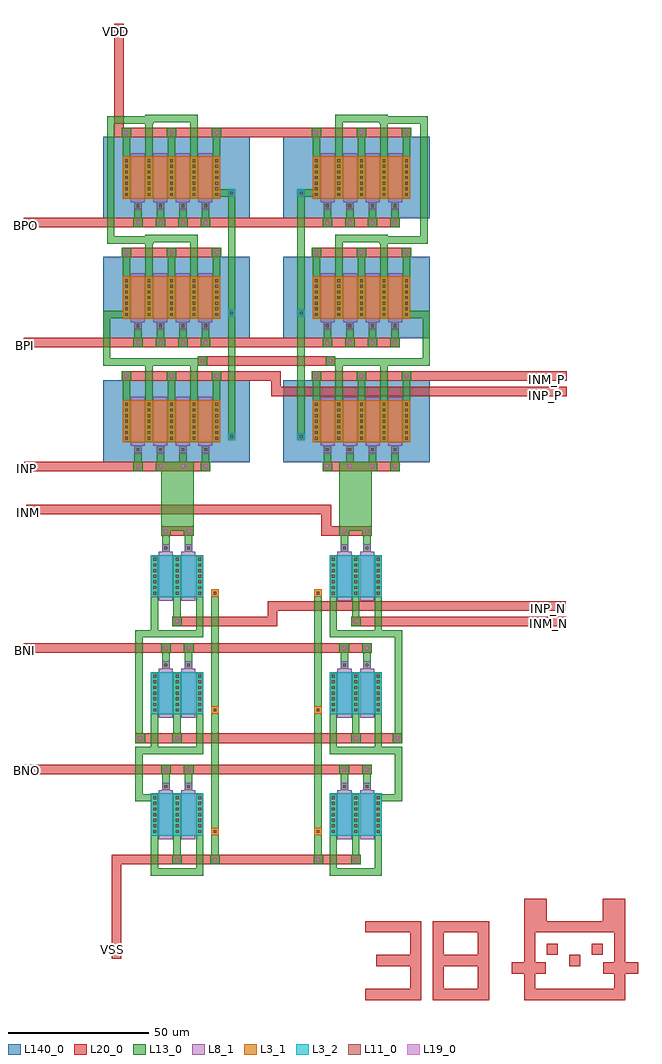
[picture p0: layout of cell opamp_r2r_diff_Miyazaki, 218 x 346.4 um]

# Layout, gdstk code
from math import pi, radians
import gdstk
lib = gdstk.Library(unit=1e-6, precision=1e-07)
def R(c, l, rs):  # rectangles x0, y0, x1, y1
    for r in rs: c.add(gdstk.rectangle(r[:2], r[2:], *l))
def A(c, l, x, y, w, h, nx, ny, dx, dy):  # array of equal rectangles
    R(c, l, [(x+i*dx, y+j*dy, x+i*dx+w, y+j*dy+h) for i in range(nx) for j in range(ny)])
L3_1 = (3, 1)
L3_2 = (3, 2)
L8_1 = (8, 1)
L11_0 = (11, 0)
L13_0 = (13, 0)
L19_0 = (19, 0)
L20_0 = (20, 0)
L140_0 = (140, 0)

via_1 = lib.new_cell('via_1')
R(via_1, L13_0, [(-1.7,-1.7,1.7,1.7)])
R(via_1, L19_0, [(-0.7,-0.7,0.7,0.7)])
R(via_1, L20_0, [(-1.7,-1.7,1.7,1.7)])

cont_g = lib.new_cell('cont_g')
R(cont_g, L8_1, [(-1.3,-1.3,1.3,1.3)])
R(cont_g, L11_0, [(-0.5,-0.5,0.5,0.5)])
R(cont_g, L13_0, [(-1.3,-1.3,1.3,1.3)])

cont_n = lib.new_cell('cont_n')
R(cont_n, L3_2, [(-1.3,-1.3,1.3,1.3)])
R(cont_n, L11_0, [(-0.5,-0.5,0.5,0.5)])
R(cont_n, L13_0, [(-1.3,-1.3,1.3,1.3)])

fet_p = lib.new_cell('fet_p')
R(fet_p, L3_1, [(-17.3,-7.5,17.3,7.5)])
A(fet_p, L11_0, -16.5, -6.5, 1, 1, 5, 7, 8, 2)
A(fet_p, L13_0, -17.3, -7.3, 2.6, 14.6, 5, 1, 8, 0)
fet_p.add(gdstk.FlexPath([(4,-8.7),(4,8.7)], 5, ends="flush", simple_path=True, layer=8, datatype=1))  # L8_1
fet_p.add(gdstk.FlexPath([(-4,-8.7),(-4,8.7)], 5, ends="flush", simple_path=True, layer=8, datatype=1))  # L8_1
fet_p.add(gdstk.FlexPath([(12,-8.7),(12,8.7)], 5, ends="flush", simple_path=True, layer=8, datatype=1))  # L8_1
fet_p.add(gdstk.FlexPath([(-12,-8.7),(-12,8.7)], 5, ends="flush", simple_path=True, layer=8, datatype=1))  # L8_1

pfet_base = lib.new_cell('PFET_BASE')
R(pfet_base, L140_0, [(0,3.2,52,32.2)])
pfet_base.add(gdstk.FlexPath([(15,38.7),(33.6,38.7)], 2.6, ends="flush", simple_path=True, layer=13, datatype=0))  # L13_0
pfet_base.add(gdstk.FlexPath([(36.4,6.4),(36.4,3.4)], 2.6, ends="flush", simple_path=True, layer=13, datatype=0))  # L13_0
pfet_base.add(gdstk.FlexPath([(28.4,6.4),(28.4,3.4)], 2.6, ends="flush", simple_path=True, layer=13, datatype=0))  # L13_0
pfet_base.add(gdstk.FlexPath([(20.4,6.4),(20.4,3.4)], 2.6, ends="flush", simple_path=True, layer=13, datatype=0))  # L13_0
pfet_base.add(gdstk.FlexPath([(12.4,6.4),(12.4,3.4)], 2.6, ends="flush", simple_path=True, layer=13, datatype=0))  # L13_0
pfet_base.add(gdstk.FlexPath([(32.3,25),(32.3,39)], 2.6, ends="flush", simple_path=True, layer=13, datatype=0))  # L13_0
pfet_base.add(gdstk.FlexPath([(40.3,25),(40.3,32)], 2.6, ends="flush", simple_path=True, layer=13, datatype=0))  # L13_0
pfet_base.add(gdstk.FlexPath([(16.3,25),(16.3,39)], 2.6, ends="flush", simple_path=True, layer=13, datatype=0))  # L13_0
pfet_base.add(gdstk.FlexPath([(24.3,25),(24.3,32)], 2.6, ends="flush", simple_path=True, layer=13, datatype=0))  # L13_0
pfet_base.add(gdstk.FlexPath([(8.3,25),(8.3,32)], 2.6, ends="flush", simple_path=True, layer=13, datatype=0))  # L13_0
pfet_base.add(gdstk.FlexPath([(6.6,33.7),(42,33.7)], 3.4, ends="flush", simple_path=True, layer=20, datatype=0))  # L20_0
pfet_base.add(gdstk.FlexPath([(38.1,1.7),(10.7,1.7)], 3.4, ends="flush", simple_path=True, layer=20, datatype=0))  # L20_0
pfet_base.add(gdstk.Reference(via_1, (28.4,1.7)))
pfet_base.add(gdstk.Reference(via_1, (24.3,33.7)))
pfet_base.add(gdstk.Reference(via_1, (8.3,33.7)))
pfet_base.add(gdstk.Reference(via_1, (40.3,33.7)))
pfet_base.add(gdstk.Reference(via_1, (20.4,1.7)))
pfet_base.add(gdstk.Reference(via_1, (12.4,1.7)))
pfet_base.add(gdstk.Reference(cont_g, (28.4,7.7)))
pfet_base.add(gdstk.Reference(cont_g, (20.4,7.7)))
pfet_base.add(gdstk.Reference(cont_g, (12.4,7.7)))
pfet_base.add(gdstk.Reference(via_1, (36.4,1.7)))
pfet_base.add(gdstk.Reference(cont_n, (45.7,12.2)))
pfet_base.add(gdstk.Reference(fet_p, (24.3,17.7)))
pfet_base.add(gdstk.Reference(cont_g, (36.4,7.7)))

fet_n = lib.new_cell('fet_n')
R(fet_n, L3_2, [(-9.3,-7.5,9.3,7.5)])
A(fet_n, L11_0, -8.5, -6.5, 1, 1, 3, 7, 8, 2)
A(fet_n, L13_0, -9.3, -7.3, 2.6, 14.6, 3, 1, 8, 0)
fet_n.add(gdstk.FlexPath([(4,-8.7),(4,8.7)], 5, ends="flush", simple_path=True, layer=8, datatype=1))  # L8_1
fet_n.add(gdstk.FlexPath([(-4,-8.7),(-4,8.7)], 5, ends="flush", simple_path=True, layer=8, datatype=1))  # L8_1

cont_p = lib.new_cell('cont_p')
R(cont_p, L3_1, [(-1.3,-1.3,1.3,1.3)])
R(cont_p, L11_0, [(-0.5,-0.5,0.5,0.5)])
R(cont_p, L13_0, [(-1.3,-1.3,1.3,1.3)])

nfet_base = lib.new_cell('NFET_BASE')
nfet_base.add(gdstk.FlexPath([(5.3,35.6),(5.3,32.6)], 2.6, ends="flush", simple_path=True, layer=13, datatype=0))  # L13_0
nfet_base.add(gdstk.FlexPath([(13.3,35.6),(13.3,32.6)], 2.6, ends="flush", simple_path=True, layer=13, datatype=0))  # L13_0
nfet_base.add(gdstk.FlexPath([(1.3,0),(1.3,14)], 2.6, ends="flush", simple_path=True, layer=13, datatype=0))  # L13_0
nfet_base.add(gdstk.FlexPath([(9.3,7),(9.3,14)], 2.6, ends="flush", simple_path=True, layer=13, datatype=0))  # L13_0
nfet_base.add(gdstk.FlexPath([(17.3,0),(17.3,14)], 2.6, ends="flush", simple_path=True, layer=13, datatype=0))  # L13_0
nfet_base.add(gdstk.FlexPath([(0,0.9),(18.6,0.9)], 2.6, ends="flush", simple_path=True, layer=13, datatype=0))  # L13_0
nfet_base.add(gdstk.FlexPath([(3.6,37.3),(15.1,37.3)], 3.4, ends="flush", simple_path=True, layer=20, datatype=0))  # L20_0
nfet_base.add(gdstk.Reference(fet_n, (9.3,21.3)))
nfet_base.add(gdstk.Reference(cont_p, (22.7,15.3)))
nfet_base.add(gdstk.Reference(cont_g, (5.3,31.3)))
nfet_base.add(gdstk.Reference(cont_g, (13.3,31.3)))
nfet_base.add(gdstk.Reference(via_1, (5.3,37.3)))
nfet_base.add(gdstk.Reference(via_1, (13.4,37.3)))
nfet_base.add(gdstk.Reference(via_1, (9.3,5.3)))

opamp_r2r_diff_miyazaki = lib.new_cell('opamp_r2r_diff_Miyazaki')
R(opamp_r2r_diff_miyazaki, L13_0, [(-5.7,-23.8,5.8,0.7), (57.6,-23.8,69.1,0.7)])
A(opamp_r2r_diff_miyazaki, L20_0, 90.7, -190.4, 20, 4, 1, 3, 0, 12)
A(opamp_r2r_diff_miyazaki, L20_0, 123.1, -178.4, 4, 4, 3, 1, 16, 0)
R(opamp_r2r_diff_miyazaki, L20_0, [(66.7,-190.4,86.7,-186.4), (123.1,-190.4,159.1,-186.4), (82.7,-186.4,86.7,-182.4), (90.7,-186.4,94.7,-182.4), (106.7,-186.4,110.7,-182.4), (123.1,-186.4,127.1,-182.4), (155.1,-186.4,159.1,-182.4), (82.7,-182.4,86.7,-178.4), (90.7,-182.4,94.7,-178.4), (106.7,-182.4,110.7,-178.4), (123.1,-182.4,127.1,-178.4), (155.1,-182.4,159.1,-178.4), (118.7,-181.1,130.9,-177), (151.3,-181.1,163.6,-177), (70.7,-178.4,86.7,-174.4), (82.7,-174.4,86.7,-170.4), (90.7,-174.4,94.7,-170.4), (106.7,-174.4,110.7,-170.4), (123.1,-174.4,127.1,-170.4), (131.1,-174.4,135.1,-170.4), (147.1,-174.4,151.1,-170.4), (155.1,-174.4,159.1,-170.4), (82.7,-170.4,86.7,-166.4), (90.7,-170.4,94.7,-166.4), (106.7,-170.4,110.7,-166.4), (123.1,-170.4,127.1,-166.4), (155.1,-170.4,159.1,-166.4), (66.7,-166.4,86.7,-162.4), (123.1,-166.4,159.1,-162.4), (123.1,-162.4,131.1,-158.4), (151.1,-162.4,159.1,-158.4), (123.1,-158.4,131.1,-154.4), (151.1,-158.4,159.1,-154.4)])
opamp_r2r_diff_miyazaki.add(gdstk.FlexPath([(-10.9,36),(-25,36),(-25,52.9),(-19.3,52.9)], 2.6, ends="flush", simple_path=True, layer=13, datatype=0))  # L13_0
opamp_r2r_diff_miyazaki.add(gdstk.FlexPath([(74,36),(88.4,36),(88.4,52.9),(82.7,52.9)], 2.6, ends="flush", simple_path=True, layer=13, datatype=0))  # L13_0
opamp_r2r_diff_miyazaki.add(gdstk.FlexPath([(71.7,79.3),(87.6,79.3),(87.6,121.9),(71.7,121.9)], 2.6, ends="flush", simple_path=True, layer=13, datatype=0))  # L13_0
opamp_r2r_diff_miyazaki.add(gdstk.FlexPath([(19.4,94.7),(19.4,54.1)], 2.6, ends="flush", simple_path=True, layer=13, datatype=0))  # L13_0
opamp_r2r_diff_miyazaki.add(gdstk.FlexPath([(19.4,54.7),(19.4,9)], 2.6, ends="flush", simple_path=True, layer=13, datatype=0))  # L13_0
opamp_r2r_diff_miyazaki.add(gdstk.FlexPath([(44,54.7),(44,8.2)], 2.6, ends="flush", simple_path=True, layer=13, datatype=0))  # L13_0
opamp_r2r_diff_miyazaki.add(gdstk.FlexPath([(44,94.7),(44,52.1)], 2.6, ends="flush", simple_path=True, layer=13, datatype=0))  # L13_0
opamp_r2r_diff_miyazaki.add(gdstk.FlexPath([(-8.3,79.3),(-23.6,79.3),(-23.6,121.9),(-8.3,121.9)], 2.6, ends="flush", simple_path=True, layer=13, datatype=0))  # L13_0
opamp_r2r_diff_miyazaki.add(gdstk.FlexPath([(50,-46.9),(50,-87.6)], 2.6, ends="flush", simple_path=True, layer=13, datatype=0))  # L13_0
opamp_r2r_diff_miyazaki.add(gdstk.FlexPath([(13.4,-45.3),(13.4,-87.2)], 2.6, ends="flush", simple_path=True, layer=13, datatype=0))  # L13_0
opamp_r2r_diff_miyazaki.add(gdstk.FlexPath([(13.4,-86.4),(13.4,-130.5)], 2.6, ends="flush", simple_path=True, layer=13, datatype=0))  # L13_0
opamp_r2r_diff_miyazaki.add(gdstk.FlexPath([(-8.3,-101.9),(-13.5,-101.9),(-13.5,-118.6),(-8.3,-118.6)], 2.6, ends="flush", simple_path=True, layer=13, datatype=0))  # L13_0
opamp_r2r_diff_miyazaki.add(gdstk.FlexPath([(50,-130.2),(50,-87.3)], 2.6, ends="flush", simple_path=True, layer=13, datatype=0))  # L13_0
opamp_r2r_diff_miyazaki.add(gdstk.FlexPath([(71.7,-101.9),(78.6,-101.9),(78.6,-118.6),(71.7,-118.6)], 2.6, ends="flush", simple_path=True, layer=13, datatype=0))  # L13_0
opamp_r2r_diff_miyazaki.add(gdstk.FlexPath([(-8.3,-60.4),(-13.5,-60.4),(-13.5,-97.4)], 2.6, ends="flush", simple_path=True, layer=13, datatype=0))  # L13_0
opamp_r2r_diff_miyazaki.add(gdstk.FlexPath([(71.7,-60.4),(78.6,-60.4),(78.6,-98.9)], 2.6, ends="flush", simple_path=True, layer=13, datatype=0))  # L13_0
opamp_r2r_diff_miyazaki.add(gdstk.FlexPath([(13.4,-130.5),(13.4,-140.7)], 2.6, ends="flush", simple_path=True, layer=13, datatype=0))  # L13_0
opamp_r2r_diff_miyazaki.add(gdstk.FlexPath([(50,-131.2),(50,-140.8)], 2.6, ends="flush", simple_path=True, layer=13, datatype=0))  # L13_0
opamp_r2r_diff_miyazaki.add(gdstk.FlexPath([(20.7,96),(15.3,96)], 2.6, ends="flush", simple_path=True, layer=13, datatype=0))  # L13_0
opamp_r2r_diff_miyazaki.add(gdstk.FlexPath([(48.1,96),(42.7,96)], 2.6, ends="flush", simple_path=True, layer=13, datatype=0))  # L13_0
opamp_r2r_diff_miyazaki.add(gdstk.FlexPath([(53.2,36.4),(10.1,36.4)], 3.4, ends="flush", simple_path=True, layer=20, datatype=0))  # L20_0
opamp_r2r_diff_miyazaki.add(gdstk.FlexPath([(-12.2,42.9),(-54.4,42.9)], 3.4, ends="flush", simple_path=True, layer=20, datatype=0))  # L20_0
opamp_r2r_diff_miyazaki.add(gdstk.FlexPath([(47.7,117.5),(15.7,117.5)], 3.4, ends="flush", simple_path=True, layer=20, datatype=0))  # L20_0
opamp_r2r_diff_miyazaki.add(gdstk.FlexPath([(-13.5,117.5),(-20.6,117.5),(-20.6,156)], 3.4, ends="flush", simple_path=True, layer=20, datatype=0))  # L20_0
opamp_r2r_diff_miyazaki.add(gdstk.FlexPath([(54.9,42.9),(11.8,42.9)], 3.4, ends="flush", simple_path=True, layer=20, datatype=0))  # L20_0
opamp_r2r_diff_miyazaki.add(gdstk.FlexPath([(51.2,85.5),(10.4,85.5)], 3.4, ends="flush", simple_path=True, layer=20, datatype=0))  # L20_0
opamp_r2r_diff_miyazaki.add(gdstk.FlexPath([(-14.8,-97.5),(3.4,-97.5)], 3.4, ends="flush", simple_path=True, layer=20, datatype=0))  # L20_0
opamp_r2r_diff_miyazaki.add(gdstk.FlexPath([(15.7,31),(35.1,31),(35.1,25.6),(138.3,25.6)], 3.4, ends="flush", simple_path=True, layer=20, datatype=0))  # L20_0
opamp_r2r_diff_miyazaki.add(gdstk.FlexPath([(-12.2,-1),(-54.2,-1)], 3.4, ends="flush", simple_path=True, layer=20, datatype=0))  # L20_0
opamp_r2r_diff_miyazaki.add(gdstk.FlexPath([(79.1,31),(138.3,31)], 3.4, ends="flush", simple_path=True, layer=20, datatype=0))  # L20_0
opamp_r2r_diff_miyazaki.add(gdstk.FlexPath([(58.2,-24),(52.9,-24),(52.9,-16.3),(-53.5,-16.3)], 3.4, ends="flush", simple_path=True, layer=20, datatype=0))  # L20_0
opamp_r2r_diff_miyazaki.add(gdstk.FlexPath([(-5.2,-108.6),(-54.4,-108.6)], 3.4, ends="flush", simple_path=True, layer=20, datatype=0))  # L20_0
opamp_r2r_diff_miyazaki.add(gdstk.FlexPath([(58.2,-108.6),(5.3,-108.6)], 3.4, ends="flush", simple_path=True, layer=20, datatype=0))  # L20_0
opamp_r2r_diff_miyazaki.add(gdstk.FlexPath([(61.7,-140.6),(1.7,-140.6)], 3.4, ends="flush", simple_path=True, layer=20, datatype=0))  # L20_0
opamp_r2r_diff_miyazaki.add(gdstk.FlexPath([(-1.7,-140.6),(-21.6,-140.6),(-21.6,-175.8)], 3.4, ends="flush", simple_path=True, layer=20, datatype=0))  # L20_0
opamp_r2r_diff_miyazaki.add(gdstk.FlexPath([(1.7,-97.5),(61.7,-97.5)], 3.4, ends="flush", simple_path=True, layer=20, datatype=0))  # L20_0
opamp_r2r_diff_miyazaki.add(gdstk.FlexPath([(61.7,-97.5),(79.9,-97.5)], 3.4, ends="flush", simple_path=True, layer=20, datatype=0))  # L20_0
opamp_r2r_diff_miyazaki.add(gdstk.FlexPath([(1.7,-56),(33.8,-56),(33.8,-50.6),(138,-50.6)], 3.4, ends="flush", simple_path=True, layer=20, datatype=0))  # L20_0
opamp_r2r_diff_miyazaki.add(gdstk.FlexPath([(65.1,-56),(138.1,-56)], 3.4, ends="flush", simple_path=True, layer=20, datatype=0))  # L20_0
opamp_r2r_diff_miyazaki.add(gdstk.FlexPath([(-12.2,85.5),(-54.4,85.5)], 3.4, ends="flush", simple_path=True, layer=20, datatype=0))  # L20_0
opamp_r2r_diff_miyazaki.add(gdstk.FlexPath([(-12.2,85.5),(-54.4,85.5)], 3.4, ends="flush", simple_path=True, layer=20, datatype=0))  # L20_0
opamp_r2r_diff_miyazaki.add(gdstk.FlexPath([(58.2,-65.5),(5.3,-65.5)], 3.4, ends="flush", simple_path=True, layer=20, datatype=0))  # L20_0
opamp_r2r_diff_miyazaki.add(gdstk.FlexPath([(-5.2,-65.5),(-54.4,-65.5)], 3.4, ends="flush", simple_path=True, layer=20, datatype=0))  # L20_0
opamp_r2r_diff_miyazaki.add(gdstk.FlexPath([(75.6,85.5),(51.2,85.5)], 3.4, ends="flush", simple_path=True, layer=20, datatype=0))  # L20_0
opamp_r2r_diff_miyazaki.add(gdstk.Reference(pfet_base, (-26.3,-2.7)))
opamp_r2r_diff_miyazaki.add(gdstk.Reference(pfet_base, (89.7,83.8), rotation=pi, x_reflection=True))
opamp_r2r_diff_miyazaki.add(gdstk.Reference(pfet_base, (89.7,41.2), rotation=pi, x_reflection=True))
opamp_r2r_diff_miyazaki.add(gdstk.Reference(pfet_base, (-26.3,41.2)))
opamp_r2r_diff_miyazaki.add(gdstk.Reference(pfet_base, (89.7,-2.7), rotation=pi, x_reflection=True))
opamp_r2r_diff_miyazaki.add(gdstk.Reference(nfet_base, (-9.3,-61.3)))
opamp_r2r_diff_miyazaki.add(gdstk.Reference(nfet_base, (72.7,-61.3), rotation=pi, x_reflection=True))
opamp_r2r_diff_miyazaki.add(gdstk.Reference(nfet_base, (-9.3,-102.8)))
opamp_r2r_diff_miyazaki.add(gdstk.Reference(nfet_base, (72.7,-102.8), rotation=pi, x_reflection=True))
opamp_r2r_diff_miyazaki.add(gdstk.Reference(nfet_base, (72.7,-145.9), rotation=pi, x_reflection=True))
opamp_r2r_diff_miyazaki.add(gdstk.Reference(via_1, (13.4,-140.6)))
opamp_r2r_diff_miyazaki.add(gdstk.Reference(nfet_base, (-9.3,-145.9)))
opamp_r2r_diff_miyazaki.add(gdstk.Reference(via_1, (78.2,-97.5)))
opamp_r2r_diff_miyazaki.add(gdstk.Reference(via_1, (-13.1,-97.5)))
opamp_r2r_diff_miyazaki.add(gdstk.Reference(via_1, (50.1,-140.6)))
opamp_r2r_diff_miyazaki.add(gdstk.Reference(pfet_base, (-26.3,83.8)))
opamp_r2r_diff_miyazaki.add(gdstk.Reference(via_1, (9,36.4)))
opamp_r2r_diff_miyazaki.add(gdstk.Reference(via_1, (54.4,36.4)))
opamp_r2r_diff_miyazaki.add(gdstk.Label('BPI', (-53.8,42), layer=49, texttype=0))
opamp_r2r_diff_miyazaki.add(gdstk.Label('INP_P', (130.9,24.1), layer=49, texttype=0))
opamp_r2r_diff_miyazaki.add(gdstk.Label('INP', (-53.5,-1.7), layer=49, texttype=0))
opamp_r2r_diff_miyazaki.add(gdstk.Label('INM_P', (131,30), layer=49, texttype=0))
opamp_r2r_diff_miyazaki.add(gdstk.Label('BNO', (-53.6,-108.9), layer=49, texttype=0))
opamp_r2r_diff_miyazaki.add(gdstk.Label('VSS', (-22.8,-172.4), layer=49, texttype=0))
opamp_r2r_diff_miyazaki.add(gdstk.Label('INP_N', (131.8,-51.4), layer=49, texttype=0))
opamp_r2r_diff_miyazaki.add(gdstk.Label('INM_N', (131.9,-56.8), layer=49, texttype=0))
opamp_r2r_diff_miyazaki.add(gdstk.Label('BNI', (-53.8,-66.5), layer=49, texttype=0))
opamp_r2r_diff_miyazaki.add(gdstk.Label('BPO', (-53.8,84.5), layer=49, texttype=0))
opamp_r2r_diff_miyazaki.add(gdstk.Label('VDD', (-22,153.3), layer=49, texttype=0))
opamp_r2r_diff_miyazaki.add(gdstk.Label('INM', (-52.8,-17.3), layer=49, texttype=0))

lib.write_gds('opamp_r2r_diff_Miyazaki.gds')
